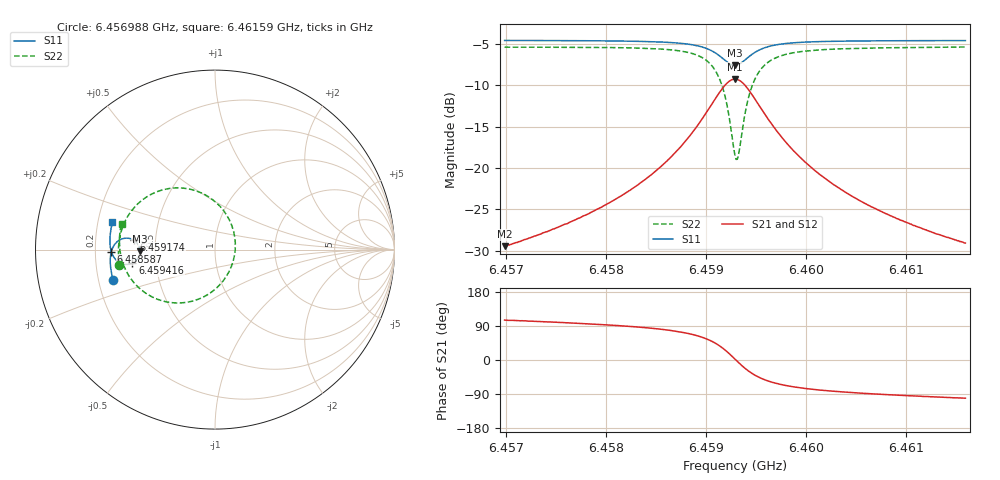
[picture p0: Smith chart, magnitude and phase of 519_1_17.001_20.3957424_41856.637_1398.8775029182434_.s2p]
#  HZ  S  RI  R  50.00
! Rohde & Schwarz Vector Network Analyzer
! Rohde-Schwarz,ZNB20-2Port,1311601062101988,3.16
! Created: UTC 3/20/2024, 11:15:19 PM
! freq[Hz]  re:S11  im:S11  re:S21  im:S21  re:S12  im:S12  re:S22  im:S22
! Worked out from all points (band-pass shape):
!   401 points, 6.456988 GHz to 6.46159 GHz, reference 50 ohm
!   highest |S21| = -9.23 dB at 6.459289 GHz (marker M1); lowest = -29.5 dB at 6.456988 GHz (marker M2)
!   |S21| within 3 dB of the highest: 6.459059 GHz to 6.459519 GHz (460.1 kHz wide, 0.00712 % of centre)
!   lowest |S11| = -7.6 dB at 6.459289 GHz (marker M3), VSWR 2.44, Z = 20.5 - j0.471 ohm
!   |S11| at or under -10 dB: nowhere
!   |S22| runs from -18.9 to -5.3 dB; largest |S21 - S12| = 0.014
!   S11 on the Smith chart (normalised r, x): 6.456988 GHz: 0.26, -0.14; 6.458587 GHz: 0.27, -0.01; 6.459174 GHz: 0.37, +0.05; 6.459416 GHz: 0.37, -0.07; 6.46159 GHz: 0.26, +0.12
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6.4569881e9  -0.5669 -0.1714  -0.00888 0.0325  -0.00713 0.0324  -0.5327 -0.0839
6.4577589e9  -0.5809 -0.104  -0.0056 0.0505  -0.00292 0.0498  -0.538 0.00625
6.4581616e9  -0.5837 -0.0638  -0.000119 0.0685  0.00314 0.0672  -0.5306 0.0695
6.4585297e9  -0.5799 -0.0201  0.0143 0.0986  0.0182 0.096  -0.5041 0.1515
6.4585872e9  -0.578 -0.0121  0.0187 0.1056  0.0228 0.1025  -0.496 0.1681
6.4587943e9  -0.5649 0.02  0.0462 0.138  0.0503 0.133  -0.4443 0.2407
6.4589439e9  -0.5423 0.0462  0.0915 0.1684  0.0947 0.1616  -0.3605 0.3053
6.4590819e9  -0.4985 0.0637  0.1787 0.1849  0.1797 0.1775  -0.2012 0.3437
6.459174e9  -0.4541 0.0535  0.2686 0.1535  0.2688 0.1477  -0.0345 0.2932
6.459243e9  -0.425 0.0215  0.3291 0.0817  0.3312 0.0763  0.081 0.1635
6.459289e9  -0.4181 -0.00946  0.3455 0.0138  0.3492 0.00674  0.1132 0.0364
6.4593005e9  -0.4187 -0.0175  0.3453 -0.00406  0.3491 -0.0116  0.1129 0.00263
6.4593235e9  -0.422 -0.0332  0.3396 -0.0388  0.3435 -0.0478  0.1015 -0.0633
6.4593696e9  -0.4377 -0.0592  0.311 -0.0987  0.3132 -0.1106  0.0437 -0.1765
6.4594156e9  -0.4597 -0.0755  0.2687 -0.1397  0.268 -0.153  -0.0419 -0.2514
6.4595076e9  -0.503 -0.0823  0.1839 -0.1709  0.1778 -0.1823  -0.211 -0.2974
6.4596572e9  -0.5469 -0.0617  0.096 -0.1568  0.0876 -0.163  -0.3789 -0.2474
6.4598182e9  -0.5684 -0.034  0.0512 -0.1288  0.0435 -0.1316  -0.4591 -0.1751
6.4600599e9  -0.5811 0.00129  0.0222 -0.0973  0.0163 -0.0978  -0.5071 -0.0924
6.4604165e9  -0.5855 0.0438  0.0058 -0.0696  0.00182 -0.0692  -0.5287 -0.011
6.4608307e9  -0.5836 0.0853  -0.00158 -0.0519  -0.00439 -0.051  -0.5326 0.0551
6.46159e9  -0.5712 0.1525  -0.00657 -0.0345  -0.00829 -0.0337  -0.5209 0.1447
